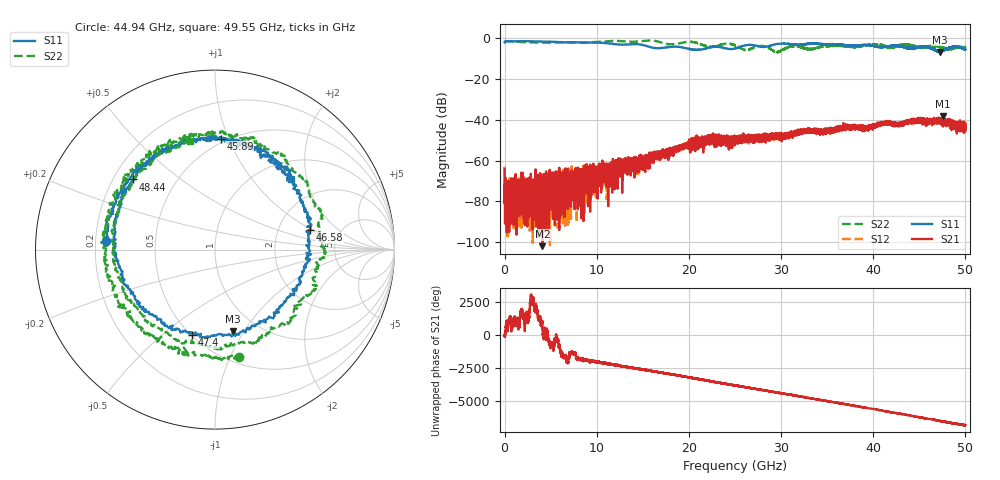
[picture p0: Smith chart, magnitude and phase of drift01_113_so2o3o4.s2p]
!Created with skrf (http://scikit-rf.org).
# Hz S RI R 50.0
!freq ReS11 ImS11 ReS21 ImS21 ReS12 ImS12 ReS22 ImS22
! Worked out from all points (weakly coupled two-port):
!   10001 points, 300 kHz to 50 GHz, reference 50 ohm
!   highest |S21| = -38.37 dB at 47.59 GHz (marker M1); lowest = -102.1 dB at 4.11 GHz (marker M2)
!   lowest |S11| = -6.6 dB at 47.21 GHz (marker M3), VSWR 2.75, Z = 38.6 - j44.9 ohm
!   |S11| at or under -10 dB: nowhere
!   |S22| runs from -6.8 to -1.0 dB; largest |S21 - S12| = 0.0036
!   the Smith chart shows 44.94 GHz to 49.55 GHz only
!   S11 on the Smith chart (normalised r, x): 44.94 GHz: 0.24, +0.04; 45.89 GHz: 0.47, +0.94; 46.58 GHz: 3.04, +0.95; 47.4 GHz: 0.50, -0.64; 48.44 GHz: 0.28, +0.34; 49.55 GHz: 1.36, +1.61
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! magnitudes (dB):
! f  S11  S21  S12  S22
! 300 kHz  -2.0  -64.3  -63.0  -1.3
! 290.3 MHz  -1.4  -74.9  -71.6  -1.4
! 4.11 GHz  -1.6  -102.1  -75.6  -2.1
! 8.335 GHz  -1.9  -71.2  -71.0  -2.1
! 16.67 GHz  -4.8  -57.0  -57.7  -1.6
! 22.1 GHz  -4.6  -48.7  -51.2  -4.1
! 25 GHz  -5.0  -51.1  -50.5  -3.4
! 26.18 GHz  -3.3  -49.6  -49.2  -5.7
! 28.09 GHz  -4.2  -47.8  -47.6  -3.8
! 29.55 GHz  -2.8  -47.5  -47.8  -6.7
! 31.29 GHz  -3.1  -46.0  -46.8  -4.0
! 33.34 GHz  -2.6  -45.0  -45.7  -5.5
! 41.67 GHz  -3.9  -41.4  -41.4  -4.5
! 44.94 GHz  -4.3  -39.3  -40.7  -4.3
! 45.89 GHz  -4.2  -40.4  -41.0  -4.2
! 46.58 GHz  -5.3  -41.1  -40.0  -3.9
! 47.21 GHz  -6.6  -40.6  -40.6  -4.4
! 47.4 GHz  -6.1  -40.1  -39.9  -4.5
! 47.59 GHz  -6.1  -38.4  -41.3  -4.7
! 48.44 GHz  -4.4  -43.0  -42.5  -5.2
! 49.55 GHz  -4.8  -42.2  -43.0  -4.2
! 50 GHz  -5.5  -42.9  -41.1  -4.2
